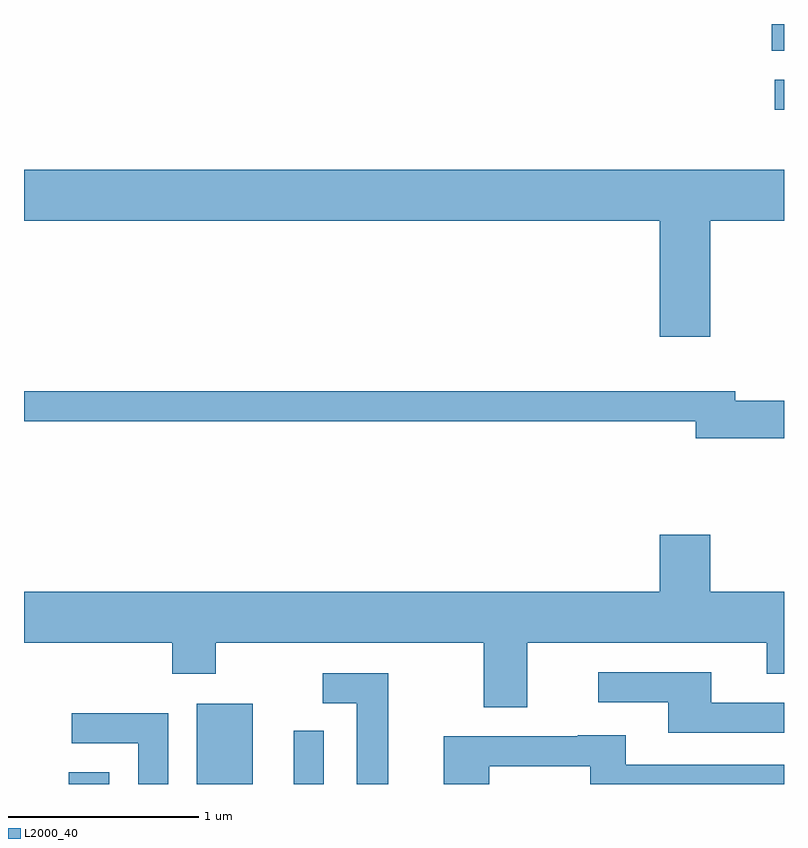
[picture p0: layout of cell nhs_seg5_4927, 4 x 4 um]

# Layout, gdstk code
import gdstk
lib = gdstk.Library(unit=1e-6, precision=1e-09)
def R(c, l, rs):  # rectangles x0, y0, x1, y1
    for r in rs: c.add(gdstk.rectangle(r[:2], r[2:], *l))
def P(c, l, *ps):  # polygons
    for p in ps: c.add(gdstk.Polygon(p, *l))
L2000_40 = (2000, 40)

nhs_seg5_4927 = lib.new_cell('nhs_seg5_4927')
R(nhs_seg5_4927, L2000_40, [(331.846,1436.072,332.059,1436.134), (332.521,1436.072,332.814,1436.494), (333.031,1436.072,333.189,1436.353), (335.563,1439.621,335.611,1439.779), (335.546,1439.931,335.611,1440.072)])
P(nhs_seg5_4927, L2000_40, [(335.224,1439.036),(335.611,1439.036),(335.611,1439.304),(331.611,1439.304),(331.611,1439.036),(334.956,1439.036),(334.956,1438.426),(335.224,1438.426)],
  [(335.611,1438.089),(335.354,1438.089),(335.354,1438.139),(331.611,1438.139),(331.611,1437.981),(335.146,1437.981),(335.146,1437.891),(335.611,1437.891)],
  [(334.259,1436.816),(335.521,1436.816),(335.521,1436.651),(335.611,1436.651),(335.611,1437.084),(335.224,1437.084),(335.224,1437.384),(334.956,1437.384),(334.956,1437.084),(331.611,1437.084),(331.611,1436.816),(332.391,1436.816),(332.391,1436.651),(332.619,1436.651),(332.619,1436.816),(334.031,1436.816),(334.031,1436.476),(334.259,1436.476)],
  [(335.611,1436.499),(335.229,1436.499),(335.229,1436.659),(334.633,1436.659),(334.633,1436.501),(335.001,1436.501),(335.001,1436.341),(335.611,1436.341)],
  [(333.529,1436.654),(333.183,1436.654),(333.183,1436.496),(333.361,1436.496),(333.361,1436.072),(333.529,1436.072)],
  [(332.369,1436.444),(331.863,1436.444),(331.863,1436.286),(332.211,1436.286),(332.211,1436.072),(332.369,1436.072)],
  [(334.059,1436.166),(334.591,1436.166),(334.591,1436.072),(335.611,1436.072),(335.611,1436.174),(334.779,1436.174),(334.779,1436.329),(334.525,1436.329),(334.525,1436.324),(333.821,1436.324),(333.821,1436.072),(334.059,1436.072)])

lib.write_gds('nhs_seg5_4927.gds')
